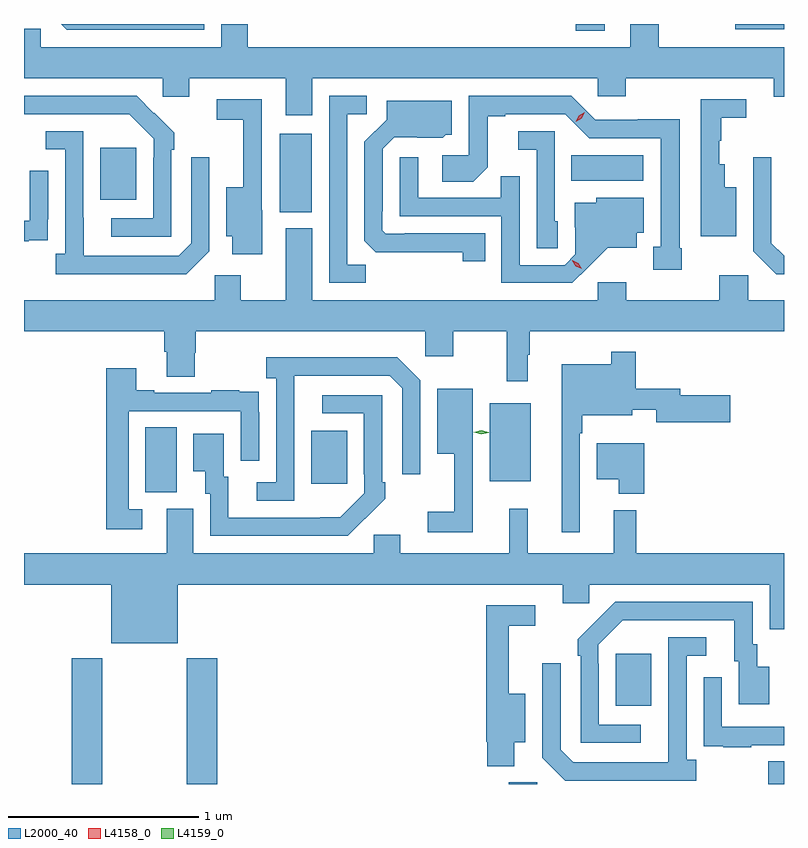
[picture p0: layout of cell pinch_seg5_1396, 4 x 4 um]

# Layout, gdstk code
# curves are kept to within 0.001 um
import gdstk
lib = gdstk.Library(unit=1e-6, precision=1e-09)
def R(c, l, rs):  # rectangles x0, y0, x1, y1
    for r in rs: c.add(gdstk.rectangle(r[:2], r[2:], *l))
def P(c, l, *ps):  # polygons
    for p in ps: c.add(gdstk.Polygon(p, *l))
L2000_40 = (2000, 40)
L4158_0 = (4158, 0)
L4159_0 = (4159, 0)

pinch_seg5_1396 = lib.new_cell('pinch_seg5_1396')
R(pinch_seg5_1396, L2000_40, [(121.421,903.662,121.581,904.324), (122.026,903.662,122.186,904.324), (123.719,903.662,123.87,903.67), (125.086,903.662,125.169,903.782), (124.283,904.073,124.471,904.348), (121.808,905.197,121.972,905.54), (122.681,905.241,122.869,905.521), (123.62,905.255,123.835,905.665), (122.516,906.671,122.683,907.084), (121.571,906.737,121.759,907.012), (124.048,906.836,124.429,906.97), (124.073,907.626,124.225,907.662), (124.913,907.634,125.169,907.662)])
P(pinch_seg5_1396, L2000_40, [(122.686,907.376),(124.188,907.376),(124.188,907.283),(124.335,907.283),(124.335,907.376),(125.114,907.376),(125.114,907.278),(125.169,907.278),(125.169,907.54),(124.509,907.54),(124.509,907.662),(124.361,907.662),(124.361,907.54),(122.347,907.54),(122.347,907.662),(122.207,907.662),(122.207,907.54),(121.257,907.54),(121.257,907.638),(121.169,907.638),(121.169,907.376),(121.899,907.376),(121.899,907.278),(122.038,907.278),(122.038,907.376),(122.546,907.376),(122.546,907.182),(122.686,907.182)],
  [(122.118,907.662),(121.364,907.662),(121.394,907.632),(122.118,907.632)],
  [(122.967,906.395),(122.871,906.395),(122.871,907.188),(122.974,907.188),(122.974,907.284),(122.775,907.284),(122.775,906.3),(122.967,906.3)],
  [(124.631,906.481),(124.621,906.481),(124.621,907.16),(124.398,907.16),(124.398,907.158),(124.176,907.158),(124.05,907.284),(123.51,907.284),(123.51,906.972),(123.369,906.972),(123.369,906.832),(123.533,906.832),(123.609,906.908),(123.609,907.176),(123.703,907.176),(123.703,907.188),(124.017,907.188),(124.143,907.062),(124.52,907.062),(124.52,906.489),(124.481,906.489),(124.481,906.369),(124.631,906.369)],
  [(121.944,907.001),(121.959,907.001),(121.959,907.089),(121.762,907.284),(121.169,907.284),(121.169,907.188),(121.723,907.188),(121.851,907.059),(121.851,906.959),(121.848,906.959),(121.848,906.639),(121.629,906.639),(121.629,906.543),(121.944,906.543)],
  [(122.422,906.681),(122.421,906.681),(122.421,907.266),(122.184,907.266),(122.184,907.158),(122.324,907.158),(122.324,906.802),(122.234,906.802),(122.234,906.545),(122.264,906.545),(122.264,906.45),(122.422,906.45)],
  [(124.918,906.802),(124.858,906.802),(124.858,906.925),(124.829,906.925),(124.829,907.047),(124.84,907.047),(124.84,907.168),(124.969,907.168),(124.969,907.266),(124.731,907.266),(124.731,906.798),(124.73,906.798),(124.73,906.545),(124.918,906.545)],
  [(123.596,906.561),(123.172,906.561),(123.172,906.558),(123.072,906.558),(123.054,906.576),(123.054,906.676),(123.057,906.676),(123.057,907.005),(123.117,907.065),(123.374,907.064),(123.39,907.08),(123.421,907.08),(123.421,907.258),(123.077,907.258),(123.077,907.158),(122.961,907.042),(122.961,906.52),(123.02,906.461),(123.478,906.46),(123.478,906.414),(123.596,906.414)],
  [(122.145,906.465),(122.145,906.961),(122.049,906.961),(122.049,906.507),(121.983,906.441),(121.483,906.441),(121.482,907.098),(121.284,907.098),(121.284,907.002),(121.386,907.002),(121.386,906.454),(121.335,906.454),(121.335,906.344),(122.024,906.344)],
  [(123.978,906.624),(123.963,906.624),(123.963,907.098),(123.771,907.098),(123.771,907.001),(123.867,907.001),(123.867,906.481),(123.978,906.481)],
  [(125.169,906.441),(125.103,906.507),(125.103,906.961),(125.007,906.961),(125.007,906.465),(125.128,906.344),(125.169,906.344)],
  [(124.138,906.383),(124.241,906.485),(124.393,906.485),(124.393,906.564),(124.432,906.564),(124.432,906.748),(124.182,906.748),(124.182,906.721),(124.067,906.721),(124.067,906.592),(124.071,906.592),(124.071,906.45),(124.014,906.393),(123.777,906.393),(123.777,906.86),(123.679,906.86),(123.679,906.747),(123.243,906.747),(123.243,906.961),(123.147,906.961),(123.147,906.651),(123.681,906.651),(123.681,906.3),(124.054,906.3)],
  [(121.193,906.525),(121.295,906.525),(121.295,906.634),(121.296,906.634),(121.296,906.889),(121.2,906.889),(121.2,906.627),(121.169,906.627),(121.169,906.519),(121.193,906.519)],
  [(121.169,906.044),(121.907,906.044),(121.907,905.938),(121.919,905.938),(121.919,905.806),(122.067,905.806),(122.067,905.931),(122.072,905.931),(122.072,906.044),(123.282,906.044),(123.282,905.913),(123.429,905.913),(123.429,906.044),(123.711,906.044),(123.711,905.781),(123.82,905.781),(123.82,905.921),(123.832,905.921),(123.832,906.044),(125.169,906.044),(125.169,906.208),(124.98,906.208),(124.98,906.34),(124.829,906.34),(124.829,906.208),(124.34,906.208),(124.34,906.304),(124.188,906.304),(124.188,906.208),(122.686,906.208),(122.686,906.586),(122.546,906.586),(122.546,906.208),(122.311,906.208),(122.311,906.34),(122.172,906.34),(122.172,906.208),(121.169,906.208)],
  [(124.095,905.507),(124.108,905.507),(124.108,905.603),(124.369,905.603),(124.369,905.633),(124.496,905.633),(124.496,905.567),(124.885,905.567),(124.885,905.709),(124.624,905.709),(124.624,905.743),(124.388,905.743),(124.388,905.938),(124.26,905.938),(124.26,905.872),(123.998,905.872),(123.998,904.986),(124.095,904.986)],
  [(122.592,905.811),(123.093,905.811),(123.159,905.745),(123.159,905.292),(123.255,905.292),(123.255,905.787),(123.134,905.908),(122.445,905.908),(122.445,905.798),(122.496,905.798),(122.496,905.25),(122.394,905.25),(122.394,905.154),(122.592,905.154)],
  [(121.792,905.109),(121.719,905.109),(121.719,905.625),(122.31,905.625),(122.31,905.364),(122.406,905.364),(122.406,905.618),(122.405,905.618),(122.405,905.727),(122.303,905.727),(122.303,905.734),(122.155,905.734),(122.155,905.721),(121.855,905.721),(121.855,905.734),(121.759,905.734),(121.759,905.851),(121.603,905.851),(121.603,905.004),(121.792,905.004)],
  [(123.531,905.503),(123.532,905.503),(123.532,905.743),(123.344,905.743),(123.344,905.399),(123.434,905.399),(123.434,905.095),(123.294,905.095),(123.294,904.986),(123.531,904.986)],
  [(122.963,905.059),(122.964,905.058),(123.069,905.163),(123.069,905.251),(123.054,905.251),(123.054,905.709),(122.739,905.709),(122.739,905.613),(122.958,905.613),(122.958,905.293),(122.961,905.293),(122.961,905.193),(122.833,905.065),(122.245,905.064),(122.245,905.28),(122.221,905.28),(122.221,905.506),(122.06,905.506),(122.06,905.309),(122.123,905.309),(122.123,905.19),(122.148,905.19),(122.148,904.968),(122.872,904.968)],
  [(124.433,905.455),(124.184,905.455),(124.184,905.267),(124.298,905.267),(124.298,905.189),(124.433,905.189)],
  [(121.978,904.712),(124.004,904.712),(124.004,904.614),(124.143,904.614),(124.143,904.712),(125.093,904.712),(125.093,904.477),(125.169,904.477),(125.169,904.876),(124.391,904.876),(124.391,905.104),(124.274,905.104),(124.274,904.876),(123.821,904.876),(123.821,905.11),(123.722,905.11),(123.722,904.876),(123.148,904.876),(123.148,904.974),(123.009,904.974),(123.009,904.876),(122.059,904.876),(122.059,905.112),(121.919,905.112),(121.919,904.876),(121.169,904.876),(121.169,904.712),(121.628,904.712),(121.628,904.403),(121.978,904.403)],
  [(124.414,903.975),(124.194,903.975),(124.194,904.295),(124.191,904.295),(124.191,904.395),(124.32,904.524),(124.907,904.524),(124.907,904.308),(124.931,904.308),(124.931,904.083),(125.092,904.083),(125.092,904.279),(125.029,904.279),(125.029,904.398),(125.004,904.398),(125.004,904.62),(124.28,904.62),(124.083,904.425),(124.083,904.337),(124.098,904.337),(124.098,903.879),(124.414,903.879)],
  [(123.748,903.881),(123.808,903.881),(123.808,904.138),(123.719,904.138),(123.719,904.494),(123.859,904.494),(123.859,904.602),(123.601,904.602),(123.601,903.885),(123.608,903.885),(123.608,903.755),(123.748,903.755)],
  [(124.708,903.79),(124.656,903.79),(124.656,904.338),(124.759,904.338),(124.759,904.434),(124.56,904.434),(124.559,903.777),(124.059,903.777),(123.993,903.843),(123.993,904.297),(123.897,904.297),(123.897,903.801),(124.018,903.68),(124.708,903.68)],
  [(124.997,903.867),(125.169,903.867),(125.169,903.963),(124.842,903.963),(124.842,904.225),(124.746,904.225),(124.746,903.97),(124.747,903.97),(124.747,903.861),(124.849,903.861),(124.849,903.855),(124.997,903.855)])
P(pinch_seg5_1396, L4158_0, [(124.072,907.147),(124.072,907.147),(124.089,907.18),(124.121,907.198),(124.121,907.198),(124.121,907.198),(124.104,907.166),(124.072,907.147)],
  [(124.104,906.373),(124.073,906.388),(124.055,906.417),(124.055,906.418),(124.055,906.418),(124.086,906.403),(124.104,906.373),(124.104,906.373)])
P(pinch_seg5_1396, L4159_0, [(123.575,905.503),(123.536,905.514),(123.536,905.514),(123.536,905.514),(123.575,905.523),(123.614,905.513),(123.615,905.513),(123.614,905.512)])

lib.write_gds('pinch_seg5_1396.gds')
